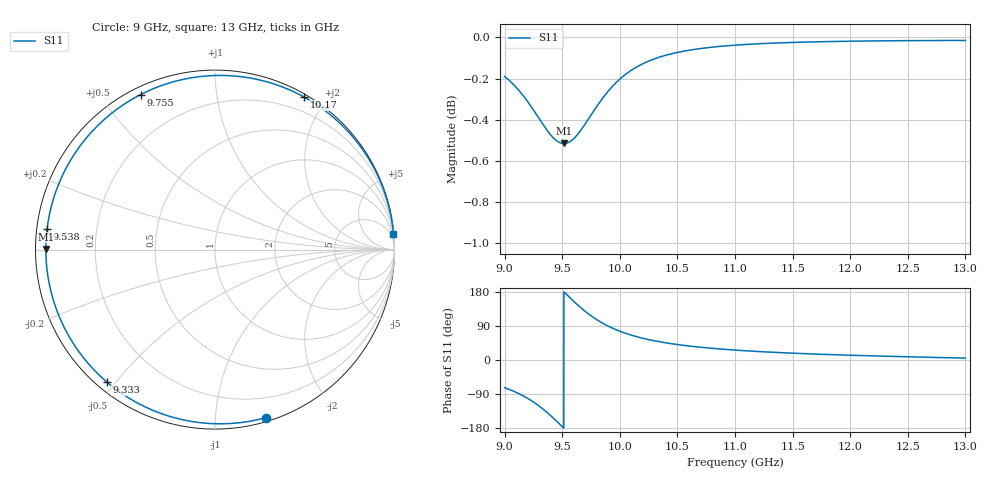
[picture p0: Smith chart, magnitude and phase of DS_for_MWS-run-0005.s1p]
! TOUCHSTONE file generated by CST DESIGN STUDIO
! Date and time: Tue Feb  4 13:36:37 2025
! Project name: C:\Work\MatlabApps\UnitCellOptimizationMatlab\CST\unitcell.cst
! Tree item: Tasks\Sweep1\SPara1\S-Parameters
! Header version: 2024
! Port assignment regex: !\s*Touchstone port\s*([0-9]+)\s*=\s*(CST MWS port|CST DES external port|CST DES block port)\s*(.+)\s* \(\"(.*)\"\)(\s*mode\s*([0-9]+))?.*
! Touchstone port assignment:
! Touchstone port 1 = CST DES external port 1 ("")
# GHz S MA R 50
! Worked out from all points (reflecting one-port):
!   4001 points, 9 GHz to 13 GHz, reference 50 ohm
!   lowest |S11| = -0.5 dB at 9.515 GHz (marker M1), VSWR 33.68, Z = 1.48 + j0.0761 ohm
!   phase of S11 starts at -73 deg and turns -282 deg over the sweep
!   S11 on the Smith chart (normalised r, x): 9 GHz: 0.03, -1.35; 9.333 GHz: 0.03, -0.47; 9.538 GHz: 0.03, +0.06; 9.755 GHz: 0.03, +0.63; 10.17 GHz: 0.03, +1.74; 13 GHz: 0, +23
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9  0.9784 -73.0
9.09  0.9731 -84.0
9.194  0.9652 -100.2
9.267  0.9586 -114.3
9.333  0.9524 -129.4
9.378  0.9485 -140.9
9.425  0.9452 -153.8
9.463  0.9433 -164.7
9.5  0.9424 -175.7
9.515  0.9423 179.8
9.538  0.9425 173.0
9.592  0.9445 157.1
9.652  0.9486 140.5
9.703  0.953 127.5
9.755  0.9579 115.6
9.806  0.9626 105.3
9.862  0.9674 95.3
10  0.9769 76.0
10.081  0.9809 67.4
10.169  0.9844 59.7
10.32  0.9885 49.6
10.5  0.9916 40.8
10.722  0.9939 33.0
11  0.9957 26.1
11.5  0.9972 18.0
12  0.9979 12.5
12.5  0.9982 8.4
13  0.9983 5.0
